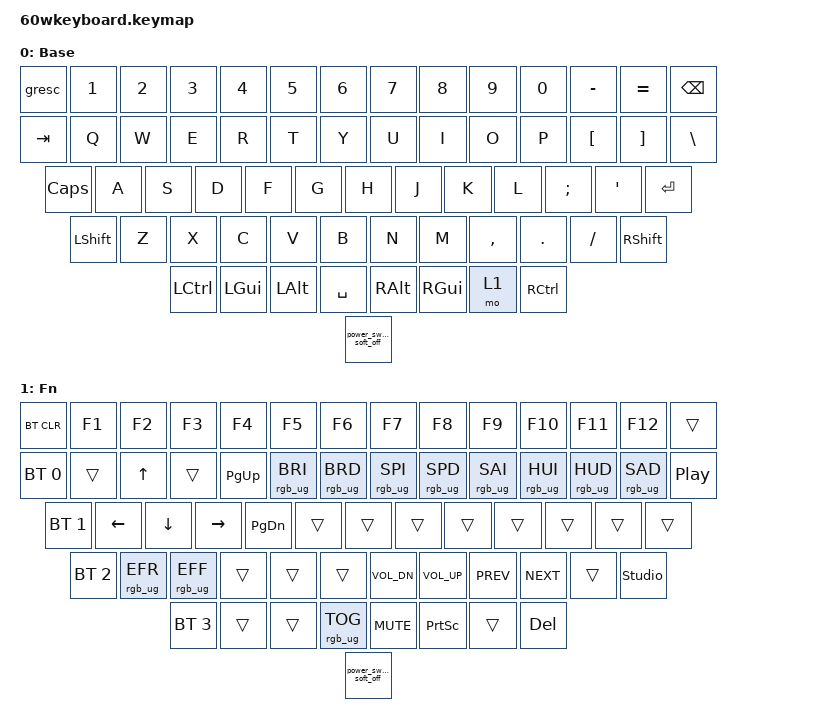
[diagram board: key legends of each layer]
#include <behaviors.dtsi>
#include <dt-bindings/zmk/keys.h>
#include <dt-bindings/zmk/rgb.h>
#include <dt-bindings/zmk/rgb_colors.h>
#include <dt-bindings/zmk/bt.h>

#define CYAN 0x00ffff
#define MAGENTA 0xff00ff
/ {
    keymap {
        compatible = "zmk,keymap";
        default_layer {
            display-name = "Base";
            // ------------------------------------------------------------------------------------------
            // | ESC |  1  |  2  |  3  |  4  |  5  |  6  |  7  |  8  |  9  |  0  |  -  |  =  |   BSPC   |
            // | TAB  |  Q  |  W  |  E  |  R  |  T  |  Y  |  U  |  I  |  O  |  P  |  [  |  ]  |   "|"   |
            // | CAPS  |  A  |  S  |  D  |  F  |  G  |  H  |  J  |  K  |  L  |  ;  |  '  |     ENTER    |
            // |  SHIFT  |  Z  |  X  |  C  |  V  |  B  |  N  |  M  |  ,  |  .  |  /  |      SHIFT       |
            // |  CTL  |  WIN  |  ALT  |            SPACE              |  ALT  |  WIN  |  MO(1) |  CTL  |
            // ------------------------------------------------------------------------------------------
            bindings = <
                &gresc  &kp N1 &kp N2 &kp N3 &kp N4 &kp N5 &kp N6 &kp N7 &kp N8 &kp N9 &kp N0 &kp MINUS &kp EQUAL  &kp BSPC
                &kp TAB  &kp Q  &kp W  &kp E  &kp R  &kp T  &kp Y  &kp U  &kp I  &kp O  &kp P  &kp LBKT  &kp RBKT  &kp BSLH
                &kp CLCK  &kp A  &kp S  &kp D  &kp F  &kp G  &kp H  &kp J  &kp K  &kp L  &kp SEMI &kp SQT           &kp RET
                &kp LSHFT   &kp Z  &kp X  &kp C  &kp V  &kp B  &kp N  &kp M  &kp COMMA &kp DOT &kp FSLH           &kp RSHFT
                &kp LCTRL &kp LGUI &kp LALT             &kp SPACE                     &kp RALT  &kp RGUI  &mo 1   &kp RCTRL
                &power_switch_soft_off
            >;
        };
        rgb_layer {
            display-name = "Fn";
            // ------------------------------------------------------------------------------------------------
            // | BT CLR | F1  | F2  | F3  | F4  | F5  | F6  | F7  | F8  | F9  | F10  | F11 | F12 |        |
            // |  BT 1   |   |  UP |   | PGUP | BRI | BRD | SPI | SPD | SAI | HUI | HUD | SAD |            PP
            // |   BT 2   | LT |  DN  | RT | PGDN |   |   |   |   |      |   |     |             |
            // |    BT 3     | EFR | EFF |      |     |     |  VOLDN | VOLUP | PREV |  NEXT  |                  |
            // |   BT 4  |      |      |             TOG RGB                |  MUTE  | PRT SCR |         |  DEL  |
            // ------------------------------------------------------------------------------------------------
            bindings = <
                &bt BT_CLR    &kp F1    &kp F2    &kp F3    &kp F4  &kp F5  &kp F6  &kp F7      &kp F8      &kp F9       &kp F10      &kp F11     &kp F12  &trans
                &bt BT_SEL 0  &trans    &kp UP    &trans    &kp PG_UP  &rgb_ug RGB_BRI &rgb_ug RGB_BRD &rgb_ug RGB_SPI &rgb_ug RGB_SPD &rgb_ug RGB_SAI &rgb_ug RGB_HUI &rgb_ug RGB_HUD &rgb_ug RGB_SAD &kp C_PP
                &bt BT_SEL 1  &kp LEFT  &kp DOWN  &kp RIGHT &kp PG_DN  &trans  &trans  &trans      &trans      &trans     &trans       &trans            &trans
                &bt BT_SEL 2  &rgb_ug RGB_EFR &rgb_ug RGB_EFF &trans    &trans  &trans  &kp C_VOL_DN  &kp C_VOL_UP  &kp C_PREV  &kp C_NEXT  &trans                        &studio_unlock
                &bt BT_SEL 3  &trans    &trans                            &rgb_ug RGB_TOG                         &kp C_MUTE   &kp PSCRN      &trans    &kp DEL
                &power_switch_soft_off
            >;
        };
    };

    /*
     * The rgb-layer fork indexes map bindings in keymap order, while LEDs are
     * addressed in physical-chain order. This initial lookup assumes the PCB
     * chain is row-major (Esc through Right Ctrl); see docs/per-key-rgb.md for
     * the required three-LED hardware verification before relying on legends.
     */
    underglow_layer {
        compatible = "zmk,underglow-layer";
        pixel-lookup = <
             0  1  2  3  4  5  6  7  8  9 10 11 12 13
            14 15 16 17 18 19 20 21 22 23 24 25 26 27
            28 29 30 31 32 33 34 35 36 37 38 39 40 41
            42 43 44 45 46 47 48 49 50 51 52 53 54 55
            56 57 58 59 60
        >;

        function_layer {
            layer-id = <1>;
            bindings = <
                &ug RED    &ug ORANGE &ug ORANGE &ug ORANGE &ug ORANGE &ug ORANGE &ug ORANGE &ug ORANGE &ug ORANGE &ug ORANGE &ug ORANGE &ug ORANGE &ug ORANGE &ug ___
                &ug CYAN   &ug ___    &ug BLUE   &ug ___    &ug BLUE   &ug GREEN  &ug GREEN  &ug GREEN  &ug GREEN  &ug GREEN  &ug GREEN  &ug GREEN  &ug GREEN  &ug PURPLE
                &ug CYAN   &ug BLUE   &ug BLUE   &ug BLUE   &ug BLUE   &ug ___    &ug ___    &ug ___    &ug ___    &ug ___    &ug ___    &ug ___    &ug ___
                &ug CYAN   &ug GREEN  &ug GREEN  &ug ___    &ug ___    &ug ___    &ug MAGENTA &ug MAGENTA &ug PURPLE &ug PURPLE &ug ___    &ug GREEN
                &ug CYAN   &ug ___    &ug ___    &ug GREEN  &ug MAGENTA &ug ORANGE &ug WHITE  &ug ORANGE
            >;
        };
    };
};
